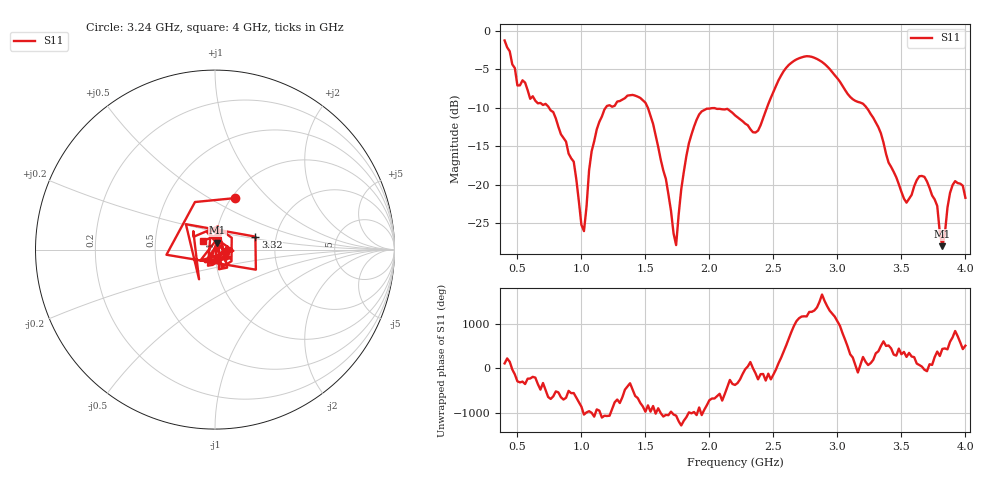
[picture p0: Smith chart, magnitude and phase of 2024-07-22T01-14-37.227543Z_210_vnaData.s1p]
!Created with skrf (http://scikit-rf.org).
# Hz S RI R 50.0
!freq ReS11 ImS11
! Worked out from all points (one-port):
!   181 points, 400 MHz to 4 GHz, reference 50 ohm
!   lowest |S11| = -28.0 dB at 3.82 GHz (marker M1), VSWR 1.08, Z = 51.1 + j3.89 ohm
!   |S11| at or under -10 dB: 746.3 MHz to 1.19 GHz (443.7 MHz wide, 45.8 % of centre); 1.519 GHz to 2.45 GHz (930.7 MHz wide, 46.9 % of centre); 3.228 GHz to end of sweep
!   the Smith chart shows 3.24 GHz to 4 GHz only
!   S11 on the Smith chart (normalised r, x): 3.24 GHz: 1.03, +0.65; 3.32 GHz: 1.56, +0.24; 4 GHz: 0.87, +0.08
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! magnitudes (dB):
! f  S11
! 400 MHz  -1.3
! 500 MHz  -7.1
! 780 MHz  -10.6
! 860 MHz  -13.9
! 940 MHz  -17.0
! 1.02 GHz  -26.0
! 1.06 GHz  -18.1
! 1.12 GHz  -12.8
! 1.3 GHz  -9.1
! 1.5 GHz  -9.3
! 1.66 GHz  -19.3
! 1.74 GHz  -27.8
! 1.76 GHz  -23.9
! 1.84 GHz  -14.6
! 1.92 GHz  -10.9
! 2.2 GHz  -11.0
! 2.38 GHz  -13.0
! 2.66 GHz  -3.9
! 2.88 GHz  -4.1
! 3.1 GHz  -8.6
! 3.24 GHz  -10.3
! 3.32 GHz  -12.5
! 3.56 GHz  -21.8
! 3.68 GHz  -19.0
! 3.78 GHz  -22.8
! 3.82 GHz  -28.0
! 3.9 GHz  -20.0
! 4 GHz  -21.7
